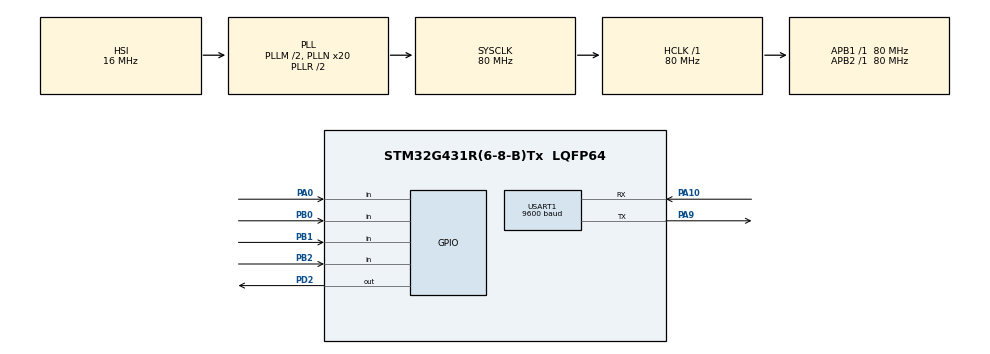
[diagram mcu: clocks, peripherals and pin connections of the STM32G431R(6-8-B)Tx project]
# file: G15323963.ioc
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Dma.Request0=USART1_RX
Dma.Request1=USART1_TX
Dma.USART1_RX.0.Direction=DMA_PERIPH_TO_MEMORY
Dma.USART1_RX.0.EventEnable=DISABLE
Dma.USART1_RX.0.Instance=DMA1_Channel1
Dma.USART1_RX.0.MemDataAlignment=DMA_MDATAALIGN_BYTE
Dma.USART1_RX.0.MemInc=DMA_MINC_ENABLE
Dma.USART1_RX.0.Mode=DMA_NORMAL
Dma.USART1_RX.0.PeriphDataAlignment=DMA_PDATAALIGN_BYTE
Dma.USART1_RX.0.PeriphInc=DMA_PINC_DISABLE
Dma.USART1_RX.0.Polarity=HAL_DMAMUX_REQ_GEN_RISING
Dma.USART1_RX.0.Priority=DMA_PRIORITY_LOW
Dma.USART1_RX.0.RequestNumber=1
Dma.USART1_RX.0.SignalID=NONE
Dma.USART1_RX.0.SyncEnable=DISABLE
Dma.USART1_RX.0.SyncPolarity=HAL_DMAMUX_SYNC_NO_EVENT
Dma.USART1_RX.0.SyncRequestNumber=1
Dma.USART1_RX.0.SyncSignalID=NONE
Dma.USART1_TX.1.Direction=DMA_MEMORY_TO_PERIPH
Dma.USART1_TX.1.EventEnable=DISABLE
Dma.USART1_TX.1.Instance=DMA1_Channel2
Dma.USART1_TX.1.MemDataAlignment=DMA_MDATAALIGN_BYTE
Dma.USART1_TX.1.MemInc=DMA_MINC_ENABLE
Dma.USART1_TX.1.Mode=DMA_NORMAL
Dma.USART1_TX.1.PeriphDataAlignment=DMA_PDATAALIGN_BYTE
Dma.USART1_TX.1.PeriphInc=DMA_PINC_DISABLE
Dma.USART1_TX.1.Polarity=HAL_DMAMUX_REQ_GEN_RISING
Dma.USART1_TX.1.Priority=DMA_PRIORITY_LOW
Dma.USART1_TX.1.RequestNumber=1
Dma.USART1_TX.1.SignalID=NONE
Dma.USART1_TX.1.SyncEnable=DISABLE
Dma.USART1_TX.1.SyncPolarity=HAL_DMAMUX_SYNC_NO_EVENT
Dma.USART1_TX.1.SyncRequestNumber=1
Dma.USART1_TX.1.SyncSignalID=NONE
Mcu.Family=STM32G4
Mcu.Name=STM32G431R(6-8-B)Tx
Mcu.Package=LQFP64
NVIC.DMA1_Channel1_IRQn=true\:0\:0\:false\:false\:true\:false\:true\:true
NVIC.DMA1_Channel2_IRQn=true\:0\:0\:false\:false\:true\:false\:true\:true
NVIC.PriorityGroup=NVIC_PRIORITYGROUP_2
NVIC.USART1_IRQn=true\:0\:0\:false\:false\:true\:true\:true\:true
PA0.Signal=GPIO_Input
PA10.Mode=Asynchronous
PA10.Signal=USART1_RX
PA9.Mode=Asynchronous
PA9.Signal=USART1_TX
PB0.Signal=GPIO_Input
PB1.Signal=GPIO_Input
PB2.Signal=GPIO_Input
PD2.Signal=GPIO_Output
PF0-OSC_IN.Mode=HSE-External-Oscillator
PF0-OSC_IN.Signal=RCC_OSC_IN
PF1-OSC_OUT.Mode=HSE-External-Oscillator
PF1-OSC_OUT.Signal=RCC_OSC_OUT
ProjectManager.HeapSize=0x200
ProjectManager.StackSize=0x400
ProjectManager.TargetToolchain=MDK-ARM V5
RCC.ADC12Freq_Value=80000000
RCC.AHBFreq_Value=80000000
RCC.APB1Freq_Value=80000000
RCC.APB1TimFreq_Value=80000000
RCC.APB2Freq_Value=80000000
RCC.APB2TimFreq_Value=80000000
RCC.CortexFreq_Value=80000000
RCC.EXTERNAL_CLOCK_VALUE=12288000
RCC.HCLKFreq_Value=80000000
RCC.HSE_VALUE=24000000
RCC.HSI48_VALUE=48000000
RCC.HSI_VALUE=16000000
RCC.LSE_VALUE=32768
RCC.PLLM=RCC_PLLM_DIV2
RCC.PLLN=20
RCC.SYSCLKFreq_VALUE=80000000
RCC.SYSCLKSource=RCC_SYSCLKSOURCE_PLLCLK
RCC.USBFreq_Value=80000000
RCC.VCOOutputFreq_Value=160000000
USART1.BaudRate=9600
USART1.VirtualMode-Asynchronous=VM_ASYNC
VP_SYS_VS_DBSignals.Mode=DisableDeadBatterySignals
board=custom

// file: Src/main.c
/* USER CODE BEGIN Header */
/**
  ******************************************************************************
  * @file           : main.c
  * @brief          : Main program body
  ******************************************************************************
  * @attention
  *
  * Copyright (c) 2024 STMicroelectronics.
  * All rights reserved.
  *
  * This software is licensed under terms that can be found in the LICENSE file
  * in the root directory of this software component.
  * If no LICENSE file comes with this software, it is provided AS-IS.
  *
  ******************************************************************************
  */
/* USER CODE END Header */
#include "main.h"
#include "dma.h"
#include "usart.h"
#include "gpio.h"

/* USER CODE BEGIN Includes */
#include "stdio.h"
#include "string.h"
#include "lcd.h"
#include "led.h"
#include "key.h"
#include "demo.h"

/* USER CODE END Includes */

void SystemClock_Config(void);

/* USER CODE BEGIN 0 */

//LED
u8 led_ctrl = 0x00;
void Led_Proc(void)
{

	Led_Control(led_ctrl);
}

//KEY
uint32_t keyTick = 0;
void Key_Proc(void)
{
	if(uwTick - keyTick < 20) return;
	keyTick = uwTick;

	Key_Read();

	if(Trg & 0x01)
	{
		Led_Control(0x01);
	}

	if(Trg & 0x02)
	{
		Led_Control(0x02);
	}

	if(Trg & 0x04)
	{
		Led_Control(0x04);
	}

	if(Trg & 0x08)
	{
		Led_Control(0x08);
	}
}

//LCD
uint32_t lcdTick = 0;
void LCD_Proc(void)
{
	if(uwTick - lcdTick < 100) return;
	lcdTick = uwTick;

	u8 display_buf[30];

	sprintf((char*)display_buf,"Hello ");
	LCD_DisplayStringLine(Line0,display_buf);

}

//串口打印

int fputc(int ch, FILE *f)
{
  /* Your implementation of fputc(). */
	HAL_UART_Transmit(&huart1,(u8 *)&ch,1,50);
  return ch;
}

//DMA
//DMA 不定长数据
//main.c,it.c,it.h声明
u8 uart_buf[2];
u8 dma_receive[255];//最多255个数据
u8 dma_receive_count = 0;
extern DMA_HandleTypeDef hdma_usart1_rx;//其他文件里已经定义好了
void	HAL_UART_IdleCpltCallback(UART_HandleTypeDef *huart)//串口接收数据完成会跳转到该函数
{
	dma_receive_count = 255 - __HAL_DMA_GET_COUNTER(&hdma_usart1_rx);//接收的数据量
	HAL_UART_Receive_DMA(&huart1,dma_receive,255);

	//if(strcmp(char))
	printf("%s",dma_receive);
	if(strcmp((char*)dma_receive,"AD123") == 0)
	{
		printf("接收正确\r\n");
	}
//	else//默认会进入一次
//		printf("接收错误\r\n");
	memset(dma_receive,'\0',sizeof(dma_receive));
}

/* USER CODE END 0 */

int main(void)
{

  /* MCU Configuration--------------------------------------------------------*/

  /* Reset of all peripherals, Initializes the Flash interface and the Systick. */
  HAL_Init();

  /* USER CODE BEGIN Init */
	LCD_Init();

  /* USER CODE END Init */

  /* Configure the system clock */
  SystemClock_Config();

  /* Initialize all configured peripherals */
  MX_GPIO_Init();
  MX_DMA_Init();
  MX_USART1_UART_Init();
  /* USER CODE BEGIN 2 */
	//UART-DMA
		HAL_UART_Receive_DMA(&huart1,dma_receive,255);
    	__HAL_UART_ENABLE_IT(&huart1,UART_IT_IDLE);

  /* USER CODE END 2 */

  /* Infinite loop */
  /* USER CODE BEGIN WHILE */
	LCD_Clear(Black);
	LCD_SetBackColor(Black);
  LCD_SetTextColor(White);
  //  LCD_DisplayStringLine(Line4, (unsigned char *)"    Hello,world.   ");

  Led_Control(0x00);

	//printf("你hao\r\n");//
  while (1)
  {
    /* USER CODE END WHILE */

    /* USER CODE BEGIN 3 */
		//Led_Proc();
		Key_Proc();
		LCD_Proc();

  }
  /* USER CODE END 3 */
}

void SystemClock_Config(void)
{
  RCC_OscInitTypeDef RCC_OscInitStruct = {0};
  RCC_ClkInitTypeDef RCC_ClkInitStruct = {0};

  /** Configure the main internal regulator output voltage
  */
  HAL_PWREx_ControlVoltageScaling(PWR_REGULATOR_VOLTAGE_SCALE1);

  /** Initializes the RCC Oscillators according to the specified parameters
  * in the RCC_OscInitTypeDef structure.
  */
  RCC_OscInitStruct.OscillatorType = RCC_OSCILLATORTYPE_HSI;
  RCC_OscInitStruct.HSIState = RCC_HSI_ON;
  RCC_OscInitStruct.HSICalibrationValue = RCC_HSICALIBRATION_DEFAULT;
  RCC_OscInitStruct.PLL.PLLState = RCC_PLL_ON;
  RCC_OscInitStruct.PLL.PLLSource = RCC_PLLSOURCE_HSI;
  RCC_OscInitStruct.PLL.PLLM = RCC_PLLM_DIV2;
  RCC_OscInitStruct.PLL.PLLN = 20;
  RCC_OscInitStruct.PLL.PLLP = RCC_PLLP_DIV2;
  RCC_OscInitStruct.PLL.PLLQ = RCC_PLLQ_DIV2;
  RCC_OscInitStruct.PLL.PLLR = RCC_PLLR_DIV2;
  if (HAL_RCC_OscConfig(&RCC_OscInitStruct) != HAL_OK)
  {
    Error_Handler();
  }

  /** Initializes the CPU, AHB and APB buses clocks
  */
  RCC_ClkInitStruct.ClockType = RCC_CLOCKTYPE_HCLK|RCC_CLOCKTYPE_SYSCLK
                              |RCC_CLOCKTYPE_PCLK1|RCC_CLOCKTYPE_PCLK2;
  RCC_ClkInitStruct.SYSCLKSource = RCC_SYSCLKSOURCE_PLLCLK;
  RCC_ClkInitStruct.AHBCLKDivider = RCC_SYSCLK_DIV1;
  RCC_ClkInitStruct.APB1CLKDivider = RCC_HCLK_DIV1;
  RCC_ClkInitStruct.APB2CLKDivider = RCC_HCLK_DIV1;

  if (HAL_RCC_ClockConfig(&RCC_ClkInitStruct, FLASH_LATENCY_2) != HAL_OK)
  {
    Error_Handler();
  }
}

void Error_Handler(void)
{
  __disable_irq();
  while (1)
  {
  }
}
